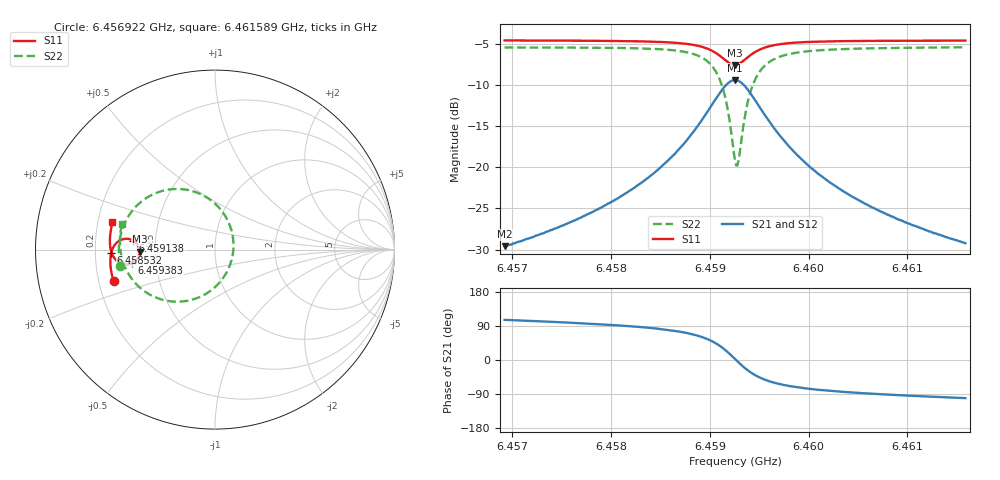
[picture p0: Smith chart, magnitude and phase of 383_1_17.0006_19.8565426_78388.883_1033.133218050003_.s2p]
#  HZ  S  RI  R  50.00
! Rohde & Schwarz Vector Network Analyzer
! Rohde-Schwarz,ZNB20-2Port,1311601062101988,3.16
! Created: UTC 3/20/2024, 11:09:13 PM
! freq[Hz]  re:S11  im:S11  re:S21  im:S21  re:S12  im:S12  re:S22  im:S22
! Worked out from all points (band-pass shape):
!   401 points, 6.456922 GHz to 6.461589 GHz, reference 50 ohm
!   highest |S21| = -9.37 dB at 6.459255 GHz (marker M1); lowest = -29.6 dB at 6.456922 GHz (marker M2)
!   |S21| within 3 dB of the highest: 6.459022 GHz to 6.459489 GHz (466.5 kHz wide, 0.00722 % of centre)
!   lowest |S11| = -7.5 dB at 6.459255 GHz (marker M3), VSWR 2.45, Z = 20.4 - j0.567 ohm
!   |S11| at or under -10 dB: nowhere
!   |S22| runs from -19.8 to -5.4 dB; largest |S21 - S12| = 0.013
!   S11 on the Smith chart (normalised r, x): 6.456922 GHz: 0.26, -0.14; 6.458532 GHz: 0.27, -0.01; 6.459138 GHz: 0.37, +0.05; 6.459383 GHz: 0.36, -0.07; 6.461589 GHz: 0.26, +0.12
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6.4569217e9  -0.5654 -0.1765  -0.00907 0.0319  -0.00739 0.0317  -0.5291 -0.0894
6.4577034e9  -0.58 -0.1085  -0.00593 0.0495  -0.00347 0.0488  -0.5355 0.000647
6.4581351e9  -0.5834 -0.0655  -0.000173 0.0686  0.0031 0.0674  -0.5283 0.0678
6.4584851e9  -0.5798 -0.0242  0.0133 0.0972  0.0171 0.0945  -0.5039 0.1452
6.4585318e9  -0.5785 -0.0178  0.0166 0.1026  0.0206 0.0996  -0.4977 0.1583
6.4587418e9  -0.5665 0.014  0.042 0.1338  0.0463 0.1292  -0.45 0.2295
6.4588935e9  -0.5457 0.0402  0.0839 0.1639  0.0874 0.1575  -0.3731 0.2933
6.4590451e9  -0.5001 0.0599  0.1745 0.1831  0.1755 0.1758  -0.2081 0.3378
6.4591385e9  -0.4563 0.0502  0.2631 0.1529  0.2634 0.147  -0.0443 0.2897
6.4591851e9  -0.4353 0.0318  0.3062 0.1108  0.3074 0.1055  0.0378 0.2154
6.4592551e9  -0.4206 -0.0114  0.3395 0.0157  0.343 0.00892  0.1027 0.0392
6.4592785e9  -0.4223 -0.0272  0.3376 -0.0191  0.3413 -0.0271  0.0991 -0.0263
6.4592901e9  -0.4244 -0.0348  0.334 -0.0359  0.3377 -0.0448  0.0923 -0.0582
6.4593368e9  -0.4397 -0.0603  0.3063 -0.0949  0.3083 -0.1066  0.0367 -0.1699
6.4593835e9  -0.4614 -0.0762  0.2652 -0.1356  0.2644 -0.1484  -0.0464 -0.2439
6.4594768e9  -0.504 -0.083  0.182 -0.1667  0.1759 -0.1779  -0.2118 -0.2903
6.4596285e9  -0.5473 -0.0626  0.0954 -0.1536  0.0871 -0.1596  -0.3768 -0.2427
6.4597918e9  -0.5686 -0.035  0.051 -0.1263  0.0436 -0.1291  -0.4563 -0.172
6.4600368e9  -0.5811 0.000589  0.0223 -0.0956  0.0166 -0.0961  -0.5039 -0.0911
6.4603869e9  -0.5856 0.0418  0.00637 -0.0692  0.00243 -0.0687  -0.5254 -0.0127
6.4608185e9  -0.5836 0.0848  -0.00125 -0.051  -0.00403 -0.0502  -0.5299 0.055
6.4615886e9  -0.5711 0.1526  -0.00637 -0.0339  -0.00802 -0.033  -0.5185 0.1449
